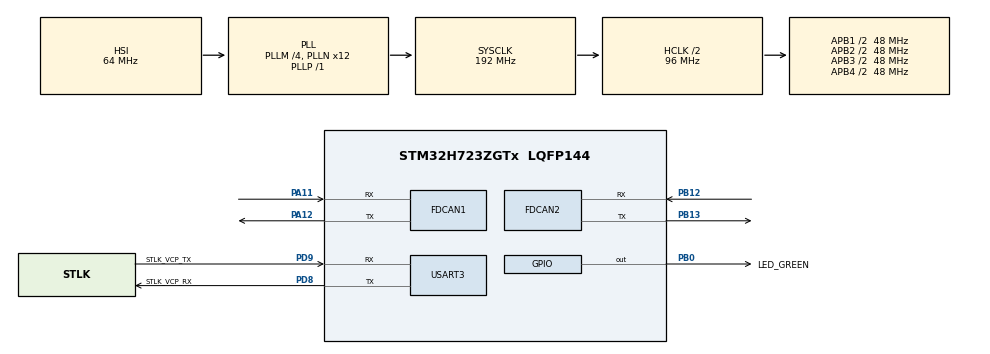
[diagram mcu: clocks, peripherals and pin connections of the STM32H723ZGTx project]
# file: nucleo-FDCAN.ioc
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CORTEX_M7.default_mode_Activation=1
FDCAN1.CalculateBaudRateNominal=1000000
FDCAN1.CalculateTimeBitNominal=1000
FDCAN1.CalculateTimeQuantumNominal=62.5
FDCAN1.DataPrescaler=11
FDCAN1.DataTimeSeg1=8
FDCAN1.Mode=FDCAN_MODE_NORMAL
FDCAN1.NominalPrescaler=3
FDCAN1.NominalTimeSeg1=12
FDCAN1.NominalTimeSeg2=3
FDCAN1.RxFifo0ElmtsNbr=1
FDCAN1.RxFifo1ElmtsNbr=8
FDCAN1.StdFiltersNbr=1
FDCAN1.TxBuffersNbr=24
FDCAN1.TxFifoQueueElmtsNbr=8
FDCAN2.CalculateBaudRateNominal=1000000
FDCAN2.CalculateTimeBitNominal=1000
FDCAN2.CalculateTimeQuantumNominal=62.5
FDCAN2.DataPrescaler=11
FDCAN2.DataTimeSeg1=8
FDCAN2.NominalPrescaler=3
FDCAN2.NominalTimeSeg1=12
FDCAN2.NominalTimeSeg2=3
FDCAN2.RxFifo0ElmtsNbr=1
FDCAN2.RxFifo1ElmtsNbr=8
FDCAN2.StdFiltersNbr=1
FDCAN2.TxBuffersNbr=24
FDCAN2.TxFifoQueueElmtsNbr=8
Mcu.Family=STM32H7
Mcu.Name=STM32H723ZGTx
Mcu.Package=LQFP144
NVIC.PriorityGroup=NVIC_PRIORITYGROUP_4
NVIC.USART3_IRQn=true\:0\:0\:false\:false\:true\:true\:true\:true
PA11.Mode=FDCAN_Activate
PA11.Signal=FDCAN1_RX
PA12.Mode=FDCAN_Activate
PA12.Signal=FDCAN1_TX
PA13(JTMS/SWDIO).GPIO_Label=SWDIO
PA13(JTMS/SWDIO).Signal=DEBUG_JTMS-SWDIO
PA14(JTCK/SWCLK).GPIO_Label=SWCLK
PA14(JTCK/SWCLK).Signal=DEBUG_JTCK-SWCLK
PB0.GPIO_Label=LED_GREEN
PB0.Signal=GPIO_Output
PB12.Mode=FDCAN_Activate
PB12.Signal=FDCAN2_RX
PB13.Mode=FDCAN_Activate
PB13.Signal=FDCAN2_TX
PC14-OSC32_IN.Signal=RCC_OSC32_IN
PC15-OSC32_OUT.Signal=RCC_OSC32_OUT
PD8.GPIO_Label=STLK_VCP_RX
PD8.Mode=Asynchronous
PD8.Signal=USART3_TX
PD9.GPIO_Label=STLK_VCP_TX
PD9.Mode=Asynchronous
PD9.Signal=USART3_RX
ProjectManager.HeapSize=0x200
ProjectManager.StackSize=0x400
ProjectManager.TargetToolchain=CMake
RCC.ADCFreq_Value=608000000
RCC.APB1Freq_Value=48000000
RCC.APB2Freq_Value=48000000
RCC.APB3Freq_Value=48000000
RCC.APB4Freq_Value=48000000
RCC.CortexFreq_Value=192000000
RCC.D1PPRE=RCC_APB3_DIV2
RCC.D2PPRE1=RCC_APB1_DIV2
RCC.D2PPRE2=RCC_APB2_DIV2
RCC.D3PPRE=RCC_APB4_DIV2
RCC.DIVM1=4
RCC.DIVM2=1
RCC.DIVN1=12
RCC.DIVN2=19
RCC.DIVP1=1
RCC.DIVQ1=4
RCC.HCLKFreq_Value=96000000
RCC.HPRE=RCC_HCLK_DIV2
RCC.HSE_VALUE=8000000
RCC.PLLFRACN=0
RCC.SYSCLKFreq_VALUE=192000000
RCC.SYSCLKSource=RCC_SYSCLKSOURCE_PLLCLK
RCC.USBCLockSelection=RCC_USBCLKSOURCE_HSI48
RCC.USBFreq_Value=48000000
USART3.VirtualMode-Asynchronous=VM_ASYNC
VP_MEMORYMAP_VS_MEMORYMAP.Mode=CurAppReg
board=NUCLEO-H723ZG

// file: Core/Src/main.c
/* USER CODE BEGIN Header */
/**
  ******************************************************************************
  * @file           : main.c
  * @brief          : Main program body
  ******************************************************************************
  * @attention
  *
  * Copyright (c) 2026 STMicroelectronics.
  * All rights reserved.
  *
  * This software is licensed under terms that can be found in the LICENSE file
  * in the root directory of this software component.
  * If no LICENSE file comes with this software, it is provided AS-IS.
  *
  ******************************************************************************
  */
/* USER CODE END Header */
#include "main.h"

/* USER CODE BEGIN Includes */
#include <stdio.h>
#include "stm32h7xx_hal_fdcan.h"
#include "stm32h7xx_hal_uart.h"
#include "fdcan.h"
/* USER CODE END Includes */

/* USER CODE BEGIN PTD */

const char* get_fdcan_error_string(FDCAN_HandleTypeDef *hfdcan);

/* USER CODE END PTD */

/* USER CODE BEGIN PD */
#define MAIN1
/* USER CODE END PD */

FDCAN_HandleTypeDef hfdcan1;
FDCAN_HandleTypeDef hfdcan2;

UART_HandleTypeDef huart3;

/* USER CODE BEGIN PV */
FDCAN_TxHeaderTypeDef TxHeader;
FDCAN_RxHeaderTypeDef RxHeader;
uint8_t TxData[] = "Hi CAN !";
uint8_t RxData[8];

int __io_putchar(int ch) {
    HAL_UART_Transmit(&huart3, (uint8_t *)&ch, 1, HAL_MAX_DELAY);
    return ch;
}
/* USER CODE END PV */

void SystemClock_Config(void);
static void MPU_Config(void);
static void MX_GPIO_Init(void);
static void MX_FDCAN1_Init(void);
static void MX_USART3_UART_Init(void);
static void MX_FDCAN2_Init(void);

int main(void)
{

  /* MPU Configuration--------------------------------------------------------*/
  MPU_Config();

  /* MCU Configuration--------------------------------------------------------*/

  /* Reset of all peripherals, Initializes the Flash interface and the Systick. */
  HAL_Init();

  /* Configure the system clock */
  SystemClock_Config();

  /* Initialize all configured peripherals */
  MX_GPIO_Init();
  MX_FDCAN1_Init();
  MX_USART3_UART_Init();
  MX_FDCAN2_Init();
  /* USER CODE BEGIN 2 */
#ifdef MAIN1
  printf("\r\n--- FDCAN Test ---\r\n");
  fdcan_start(&hfdcan1, &hfdcan2);
  fdcan_prepare_tx_header(&TxHeader);
  fdcan_send_message(&hfdcan1, &TxHeader, TxData, get_fdcan_error_string);
  fdcan_read_message(&hfdcan2, &RxHeader, RxData);
#endif /* MAIN1 */
  /* USER CODE END 2 */

  /* Infinite loop */
  /* USER CODE BEGIN WHILE */
  while (1)
  {
    HAL_GPIO_TogglePin(LED_GREEN_GPIO_Port, LED_GREEN_Pin);
    HAL_Delay(500);
    /* USER CODE END WHILE */

  }
}

void SystemClock_Config(void)
{
  RCC_OscInitTypeDef RCC_OscInitStruct = {0};
  RCC_ClkInitTypeDef RCC_ClkInitStruct = {0};

  /** Supply configuration update enable
  */
  HAL_PWREx_ConfigSupply(PWR_LDO_SUPPLY);

  /** Configure the main internal regulator output voltage
  */
  __HAL_PWR_VOLTAGESCALING_CONFIG(PWR_REGULATOR_VOLTAGE_SCALE2);

  while(!__HAL_PWR_GET_FLAG(PWR_FLAG_VOSRDY)) {}

  /** Initializes the RCC Oscillators according to the specified parameters
  * in the RCC_OscInitTypeDef structure.
  */
  RCC_OscInitStruct.OscillatorType = RCC_OSCILLATORTYPE_HSI;
  RCC_OscInitStruct.HSIState = RCC_HSI_DIV1;
  RCC_OscInitStruct.HSICalibrationValue = 64;
  RCC_OscInitStruct.PLL.PLLState = RCC_PLL_ON;
  RCC_OscInitStruct.PLL.PLLSource = RCC_PLLSOURCE_HSI;
  RCC_OscInitStruct.PLL.PLLM = 4;
  RCC_OscInitStruct.PLL.PLLN = 12;
  RCC_OscInitStruct.PLL.PLLP = 1;
  RCC_OscInitStruct.PLL.PLLQ = 4;
  RCC_OscInitStruct.PLL.PLLR = 2;
  RCC_OscInitStruct.PLL.PLLRGE = RCC_PLL1VCIRANGE_3;
  RCC_OscInitStruct.PLL.PLLVCOSEL = RCC_PLL1VCOWIDE;
  RCC_OscInitStruct.PLL.PLLFRACN = 0;
  if (HAL_RCC_OscConfig(&RCC_OscInitStruct) != HAL_OK)
  {
    Error_Handler();
  }

  /** Initializes the CPU, AHB and APB buses clocks
  */
  RCC_ClkInitStruct.ClockType = RCC_CLOCKTYPE_HCLK|RCC_CLOCKTYPE_SYSCLK
                              |RCC_CLOCKTYPE_PCLK1|RCC_CLOCKTYPE_PCLK2
                              |RCC_CLOCKTYPE_D3PCLK1|RCC_CLOCKTYPE_D1PCLK1;
  RCC_ClkInitStruct.SYSCLKSource = RCC_SYSCLKSOURCE_PLLCLK;
  RCC_ClkInitStruct.SYSCLKDivider = RCC_SYSCLK_DIV1;
  RCC_ClkInitStruct.AHBCLKDivider = RCC_HCLK_DIV2;
  RCC_ClkInitStruct.APB3CLKDivider = RCC_APB3_DIV2;
  RCC_ClkInitStruct.APB1CLKDivider = RCC_APB1_DIV2;
  RCC_ClkInitStruct.APB2CLKDivider = RCC_APB2_DIV2;
  RCC_ClkInitStruct.APB4CLKDivider = RCC_APB4_DIV2;

  if (HAL_RCC_ClockConfig(&RCC_ClkInitStruct, FLASH_LATENCY_1) != HAL_OK)
  {
    Error_Handler();
  }
}

static void MX_FDCAN1_Init(void)
{

  /* USER CODE BEGIN FDCAN1_Init 1 */

  // Set StdFiltersNbr and RxFifo0ElmtsNbr to at least 1 to enable reception:
  // If StdFiltersNbr = 0 and RxFifo0ElmtsNbr = 0, no standard filter is allocated and RX FIFO0 is not available,
  // so received messages will be discarded even if a filter is configured later. Set both to 1 (or more)
  // to ensure the filter and RX FIFO0 are usable for message reception.

  /*
   * Recommended CAN bit timing for better reliability:
   *   NominalPrescaler = 3
   *   NominalTimeSeg1 = 12
   *   NominalTimeSeg2 = 3
   * This ensures both segments are >1 TQ, allowing proper phase error correction and protocol robustness.
   * These values are more typical for standard CAN baud rates and avoid protocol errors seen with minimal segment values.
   *
   * Avoid setting NominalTimeSeg2 = 1 (1 TQ):
   * A time segment of only 1 time quantum (TQ) leaves no margin for phase error correction and can cause protocol errors or reduce robustness.
   * Both TimeSeg1 and TimeSeg2 should be at least 2 TQ for reliable CAN communication, as per the CAN protocol recommendations.
   */

  /* USER CODE END FDCAN1_Init 1 */
  hfdcan1.Instance = FDCAN1;
  hfdcan1.Init.FrameFormat = FDCAN_FRAME_CLASSIC;
  hfdcan1.Init.Mode = FDCAN_MODE_NORMAL;
  hfdcan1.Init.AutoRetransmission = DISABLE;
  hfdcan1.Init.TransmitPause = DISABLE;
  hfdcan1.Init.ProtocolException = DISABLE;
  hfdcan1.Init.NominalPrescaler = 3;
  hfdcan1.Init.NominalSyncJumpWidth = 1;
  hfdcan1.Init.NominalTimeSeg1 = 12;
  hfdcan1.Init.NominalTimeSeg2 = 3;
  hfdcan1.Init.DataPrescaler = 11;
  hfdcan1.Init.DataSyncJumpWidth = 1;
  hfdcan1.Init.DataTimeSeg1 = 8;
  hfdcan1.Init.DataTimeSeg2 = 1;
  hfdcan1.Init.MessageRAMOffset = 0;
  hfdcan1.Init.StdFiltersNbr = 1;
  hfdcan1.Init.ExtFiltersNbr = 0;
  hfdcan1.Init.RxFifo0ElmtsNbr = 1;
  hfdcan1.Init.RxFifo0ElmtSize = FDCAN_DATA_BYTES_8;
  hfdcan1.Init.RxFifo1ElmtsNbr = 8;
  hfdcan1.Init.RxFifo1ElmtSize = FDCAN_DATA_BYTES_8;
  hfdcan1.Init.RxBuffersNbr = 0;
  hfdcan1.Init.RxBufferSize = FDCAN_DATA_BYTES_8;
  hfdcan1.Init.TxEventsNbr = 0;
  hfdcan1.Init.TxBuffersNbr = 24;
  hfdcan1.Init.TxFifoQueueElmtsNbr = 8;
  hfdcan1.Init.TxFifoQueueMode = FDCAN_TX_FIFO_OPERATION;
  hfdcan1.Init.TxElmtSize = FDCAN_DATA_BYTES_8;
  if (HAL_FDCAN_Init(&hfdcan1) != HAL_OK)
  {
    Error_Handler();
  }

}

static void MX_FDCAN2_Init(void)
{

  hfdcan2.Instance = FDCAN2;
  hfdcan2.Init.FrameFormat = FDCAN_FRAME_CLASSIC;
  hfdcan2.Init.Mode = FDCAN_MODE_NORMAL;
  hfdcan2.Init.AutoRetransmission = DISABLE;
  hfdcan2.Init.TransmitPause = DISABLE;
  hfdcan2.Init.ProtocolException = DISABLE;
  hfdcan2.Init.NominalPrescaler = 3;
  hfdcan2.Init.NominalSyncJumpWidth = 1;
  hfdcan2.Init.NominalTimeSeg1 = 12;
  hfdcan2.Init.NominalTimeSeg2 = 3;
  hfdcan2.Init.DataPrescaler = 11;
  hfdcan2.Init.DataSyncJumpWidth = 1;
  hfdcan2.Init.DataTimeSeg1 = 8;
  hfdcan2.Init.DataTimeSeg2 = 1;
  hfdcan2.Init.MessageRAMOffset = 0;
  hfdcan2.Init.StdFiltersNbr = 1;
  hfdcan2.Init.ExtFiltersNbr = 0;
  hfdcan2.Init.RxFifo0ElmtsNbr = 1;
  hfdcan2.Init.RxFifo0ElmtSize = FDCAN_DATA_BYTES_8;
  hfdcan2.Init.RxFifo1ElmtsNbr = 8;
  hfdcan2.Init.RxFifo1ElmtSize = FDCAN_DATA_BYTES_8;
  hfdcan2.Init.RxBuffersNbr = 0;
  hfdcan2.Init.RxBufferSize = FDCAN_DATA_BYTES_8;
  hfdcan2.Init.TxEventsNbr = 0;
  hfdcan2.Init.TxBuffersNbr = 24;
  hfdcan2.Init.TxFifoQueueElmtsNbr = 8;
  hfdcan2.Init.TxFifoQueueMode = FDCAN_TX_FIFO_OPERATION;
  hfdcan2.Init.TxElmtSize = FDCAN_DATA_BYTES_8;
  if (HAL_FDCAN_Init(&hfdcan2) != HAL_OK)
  {
    Error_Handler();
  }

}

static void MX_USART3_UART_Init(void)
{

  huart3.Instance = USART3;
  huart3.Init.BaudRate = 115200;
  huart3.Init.WordLength = UART_WORDLENGTH_8B;
  huart3.Init.StopBits = UART_STOPBITS_1;
  huart3.Init.Parity = UART_PARITY_NONE;
  huart3.Init.Mode = UART_MODE_TX_RX;
  huart3.Init.HwFlowCtl = UART_HWCONTROL_NONE;
  huart3.Init.OverSampling = UART_OVERSAMPLING_16;
  huart3.Init.OneBitSampling = UART_ONE_BIT_SAMPLE_DISABLE;
  huart3.Init.ClockPrescaler = UART_PRESCALER_DIV1;
  huart3.AdvancedInit.AdvFeatureInit = UART_ADVFEATURE_NO_INIT;
  if (HAL_UART_Init(&huart3) != HAL_OK)
  {
    Error_Handler();
  }
  if (HAL_UARTEx_SetTxFifoThreshold(&huart3, UART_TXFIFO_THRESHOLD_1_8) != HAL_OK)
  {
    Error_Handler();
  }
  if (HAL_UARTEx_SetRxFifoThreshold(&huart3, UART_RXFIFO_THRESHOLD_1_8) != HAL_OK)
  {
    Error_Handler();
  }
  if (HAL_UARTEx_DisableFifoMode(&huart3) != HAL_OK)
  {
    Error_Handler();
  }

}

static void MX_GPIO_Init(void)
{
  GPIO_InitTypeDef GPIO_InitStruct = {0};

  /* GPIO Ports Clock Enable */
  __HAL_RCC_GPIOC_CLK_ENABLE();
  __HAL_RCC_GPIOB_CLK_ENABLE();
  __HAL_RCC_GPIOD_CLK_ENABLE();
  __HAL_RCC_GPIOA_CLK_ENABLE();

  /*Configure GPIO pin Output Level */
  HAL_GPIO_WritePin(LED_GREEN_GPIO_Port, LED_GREEN_Pin, GPIO_PIN_RESET);

  /*Configure GPIO pin : LED_GREEN_Pin */
  GPIO_InitStruct.Pin = LED_GREEN_Pin;
  GPIO_InitStruct.Mode = GPIO_MODE_OUTPUT_PP;
  GPIO_InitStruct.Pull = GPIO_NOPULL;
  GPIO_InitStruct.Speed = GPIO_SPEED_FREQ_LOW;
  HAL_GPIO_Init(LED_GREEN_GPIO_Port, &GPIO_InitStruct);

}

/* USER CODE BEGIN 4 */
const char* get_fdcan_error_string(FDCAN_HandleTypeDef *hfdcan)
{
  switch(hfdcan->ErrorCode)
  {
    case HAL_FDCAN_ERROR_NONE: return "No error";
    case HAL_FDCAN_ERROR_TIMEOUT: return "Timeout";
    case HAL_FDCAN_ERROR_NOT_INITIALIZED: return "Not initialized";
    case HAL_FDCAN_ERROR_NOT_READY: return "Not ready";
    case HAL_FDCAN_ERROR_NOT_STARTED: return "Not started";
    case HAL_FDCAN_ERROR_NOT_SUPPORTED: return "Not supported";
    case HAL_FDCAN_ERROR_PARAM: return "Parameter error";
    case HAL_FDCAN_ERROR_PENDING: return "Pending";
    case HAL_FDCAN_ERROR_RAM_ACCESS: return "RAM access error";
    case HAL_FDCAN_ERROR_FIFO_EMPTY: return "FIFO empty";
    case HAL_FDCAN_ERROR_FIFO_FULL: return "FIFO full";
    case HAL_FDCAN_ERROR_LOG_OVERFLOW: return "Log overflow";
    case HAL_FDCAN_ERROR_RAM_WDG: return "RAM watchdog";
    case HAL_FDCAN_ERROR_PROTOCOL_ARBT: return "Protocol arbitration error";
    case HAL_FDCAN_ERROR_PROTOCOL_DATA: return "Protocol data error";
    case HAL_FDCAN_ERROR_RESERVED_AREA: return "Reserved area error";
    case HAL_FDCAN_ERROR_TT_TX_UNDERFLOW: return "Tx underflow";
    case HAL_FDCAN_ERROR_TT_TX_OVERFLOW: return "Tx overflow";
    case HAL_FDCAN_ERROR_TT_SCHEDULE1: return "Schedule 1 error";
    case HAL_FDCAN_ERROR_TT_SCHEDULE2: return "Schedule 2 error";
    case HAL_FDCAN_ERROR_TT_NO_INIT_REF: return "No init reference";
    case HAL_FDCAN_ERROR_TT_NO_REF: return "No reference";
    case HAL_FDCAN_ERROR_TT_APPL_WDG: return "Application watchdog";
    case HAL_FDCAN_ERROR_TT_CONFIG: return "Config error";
    default: return "Unknown error";
  }
}

/* USER CODE END 4 */

 /* MPU Configuration */

void MPU_Config(void)
{
  MPU_Region_InitTypeDef MPU_InitStruct = {0};

  /* Disables the MPU */
  HAL_MPU_Disable();

  /** Initializes and configures the Region and the memory to be protected
  */
  MPU_InitStruct.Enable = MPU_REGION_ENABLE;
  MPU_InitStruct.Number = MPU_REGION_NUMBER0;
  MPU_InitStruct.BaseAddress = 0x0;
  MPU_InitStruct.Size = MPU_REGION_SIZE_4GB;
  MPU_InitStruct.SubRegionDisable = 0x87;
  MPU_InitStruct.TypeExtField = MPU_TEX_LEVEL0;
  MPU_InitStruct.AccessPermission = MPU_REGION_NO_ACCESS;
  MPU_InitStruct.DisableExec = MPU_INSTRUCTION_ACCESS_DISABLE;
  MPU_InitStruct.IsShareable = MPU_ACCESS_SHAREABLE;
  MPU_InitStruct.IsCacheable = MPU_ACCESS_NOT_CACHEABLE;
  MPU_InitStruct.IsBufferable = MPU_ACCESS_NOT_BUFFERABLE;

  HAL_MPU_ConfigRegion(&MPU_InitStruct);
  /* Enables the MPU */
  HAL_MPU_Enable(MPU_PRIVILEGED_DEFAULT);

}

void Error_Handler(void)
{
  __disable_irq();
  while (1)
  {
  }
}
